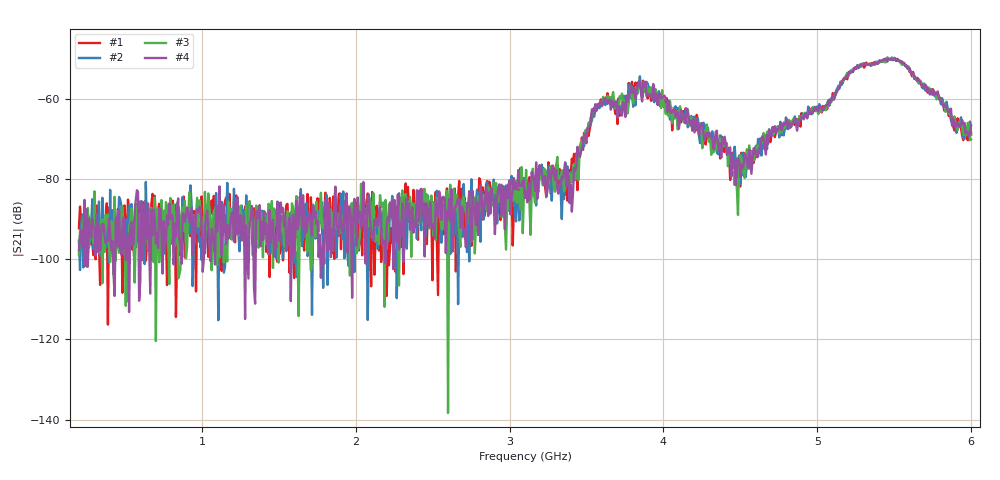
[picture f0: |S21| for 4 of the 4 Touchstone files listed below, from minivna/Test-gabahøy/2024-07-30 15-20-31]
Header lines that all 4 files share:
! NanoVNA-App by OneOfEleven et al v1.1.209 (+OD15)
! Start: 200MHz Stop: 6GHz Points: 801
! S-Parameter data: F S11 S21 S12 S22
# Hz S RI R 50
!  Frequency  S11_Real  S11_Imag  S21_Real  S21_Imag  S12_Real  S12_Imag  S22_Real  S22_Imag
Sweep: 200 MHz to 6 GHz
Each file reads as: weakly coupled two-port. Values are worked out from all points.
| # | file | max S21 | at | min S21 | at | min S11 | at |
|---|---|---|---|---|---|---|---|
| 1 | 0.s2p | -49.93 dB | 5.507 GHz | -116.3 dB | 388.5 MHz | -5.9 dB | 2.941 GHz |
| 2 | 2.s2p | -49.71 dB | 5.485 GHz | -115.2 dB | 1.106 GHz | -5.9 dB | 2.941 GHz |
| 3 | 4.s2p | -49.66 dB | 5.456 GHz | -138.3 dB | 2.6 GHz | -5.9 dB | 2.941 GHz |
| 4 | 5.s2p | -49.96 dB | 5.507 GHz | -114.9 dB | 1.28 GHz | -5.9 dB | 2.941 GHz |
